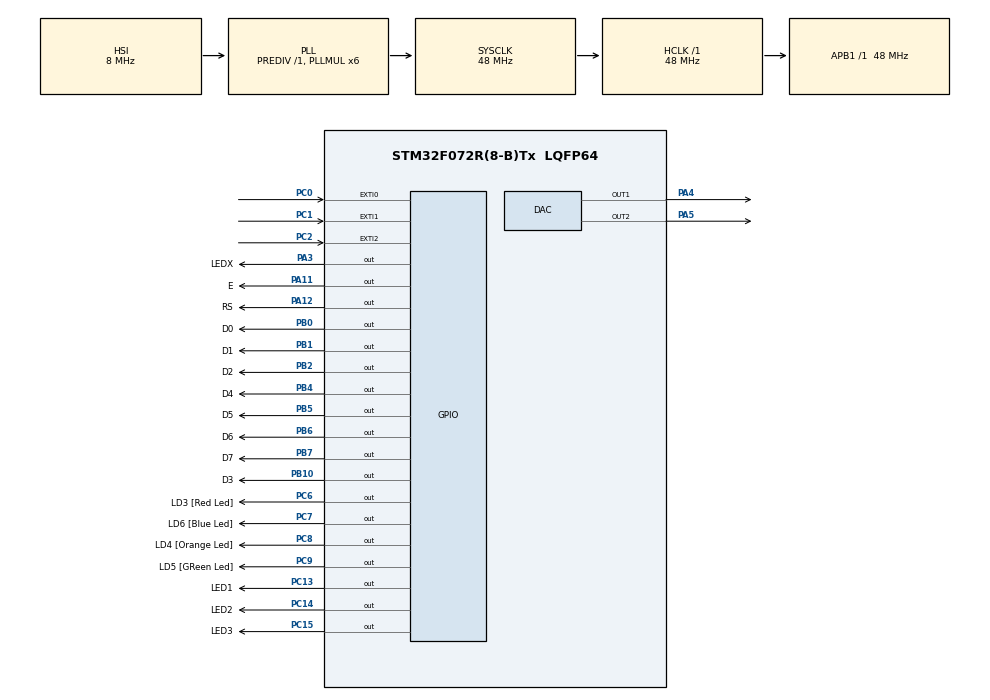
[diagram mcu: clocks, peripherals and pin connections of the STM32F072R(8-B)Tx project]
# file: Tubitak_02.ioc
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Mcu.Family=STM32F0
Mcu.Name=STM32F072R(8-B)Tx
Mcu.Package=LQFP64
NVIC.EXTI0_1_IRQn=true\:0\:0\:false\:false\:true\:true\:true
NVIC.EXTI2_3_IRQn=true\:0\:0\:false\:false\:true\:true\:true
NVIC.TIM1_BRK_UP_TRG_COM_IRQn=true\:0\:0\:false\:false\:true\:true\:true
NVIC.TIM1_CC_IRQn=true\:0\:0\:false\:false\:true\:true\:true
PA11.GPIO_Label=E
PA11.Signal=GPIO_Output
PA12.GPIO_Label=RS
PA12.Signal=GPIO_Output
PA13.GPIO_Label=SWDIO
PA13.Signal=SYS_SWDIO
PA3.GPIO_Label=LEDX
PA3.Signal=GPIO_Output
PA4.Signal=COMP_DAC1_group
PA5.Signal=COMP_DAC2_group
PB0.GPIO_Label=D0
PB0.Signal=GPIO_Output
PB1.GPIO_Label=D1
PB1.Signal=GPIO_Output
PB10.GPIO_Label=D3
PB10.Signal=GPIO_Output
PB2.GPIO_Label=D2
PB2.Signal=GPIO_Output
PB4.GPIO_Label=D4
PB4.Signal=GPIO_Output
PB5.GPIO_Label=D5
PB5.Signal=GPIO_Output
PB6.GPIO_Label=D6
PB6.Signal=GPIO_Output
PB7.GPIO_Label=D7
PB7.Signal=GPIO_Output
PC0.Signal=GPXTI0
PC1.Signal=GPXTI1
PC13.GPIO_Label=LED1
PC13.Signal=GPIO_Output
PC14-OSC32_IN.GPIO_Label=LED2
PC14-OSC32_IN.Signal=GPIO_Output
PC15-OSC32_OUT.GPIO_Label=LED3
PC15-OSC32_OUT.Signal=GPIO_Output
PC2.Signal=GPXTI2
PC6.GPIO_Label=LD3 [Red Led]
PC6.Signal=GPIO_Output
PC7.GPIO_Label=LD6 [Blue Led]
PC7.Signal=GPIO_Output
PC8.GPIO_Label=LD4 [Orange Led]
PC8.Signal=GPIO_Output
PC9.GPIO_Label=LD5 [GReen Led]
PC9.Signal=GPIO_Output
ProjectManager.HeapSize=0x200
ProjectManager.StackSize=0x400
ProjectManager.TargetToolchain=STM32CubeIDE
RCC.AHBFreq_Value=48000000
RCC.APB1Freq_Value=48000000
RCC.APB1TimFreq_Value=48000000
RCC.HCLKFreq_Value=48000000
RCC.PLLMUL=RCC_PLL_MUL6
RCC.SYSCLKFreq_VALUE=48000000
RCC.SYSCLKSource=RCC_SYSCLKSOURCE_PLLCLK
SH.COMP_DAC1_group.0=DAC_OUT1,DAC_OUT1
SH.COMP_DAC2_group.0=DAC_OUT2,DAC_OUT2
TIM1.Period=48000-1
VP_TIM1_VS_ClockSourceINT.Mode=Internal
board=STM32F072B-DISCO

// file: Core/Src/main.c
/* USER CODE BEGIN Header */
/**
  ******************************************************************************
  * @file           : main.c
  * @brief          : Main program body
  ******************************************************************************
  * @attention
  *
  * <h2><center>&copy; Copyright (c) 2021 STMicroelectronics.
  * All rights reserved.</center></h2>
  *
  * This software component is licensed by ST under BSD 3-Clause license,
  * the "License"; You may not use this file except in compliance with the
  * License. You may obtain a copy of the License at:
  *                        opensource.org/licenses/BSD-3-Clause
  *
  ******************************************************************************
  */
/* USER CODE END Header */
#include "main.h"

/* USER CODE BEGIN Includes */
#include "math.h"
#include "STM_MY_LCD16X2.h"
/* USER CODE END Includes */

DAC_HandleTypeDef hdac;

TIM_HandleTypeDef htim1;

/* USER CODE BEGIN PV */
uint16_t inc_value=0;

int i=0;

/* USER CODE END PV */

void SystemClock_Config(void);
static void MX_GPIO_Init(void);
static void MX_DAC_Init(void);
static void MX_TIM1_Init(void);

int main(void)
{

  /* MCU Configuration--------------------------------------------------------*/

  /* Reset of all peripherals, Initializes the Flash interface and the Systick. */
  HAL_Init();

  /* Configure the system clock */
  SystemClock_Config();

  /* Initialize all configured peripherals */
  MX_GPIO_Init();
  MX_DAC_Init();
  MX_TIM1_Init();
  /* USER CODE BEGIN 2 */

  HAL_DAC_Start(&hdac, DAC_CHANNEL_1);

  HAL_TIM_Base_Start_IT(&htim1);

  //LCD1602_Begin8BIT(RS_GPIO_Port, RS_Pin, E_Pin, D0_GPIO_Port, D0_Pin, D1_Pin, D2_Pin, D3_Pin, D4_GPIO_Port, D4_Pin, D5_Pin, D6_Pin, D7_Pin);

  /* USER CODE END 2 */

  /* Infinite loop */
  while (1)
  {

    /* USER CODE BEGIN 3 */
	  HAL_GPIO_WritePin(GPIOC, GPIO_PIN_13, GPIO_PIN_SET);
	  	  HAL_GPIO_WritePin(GPIOC, GPIO_PIN_14, GPIO_PIN_SET);
	  	  HAL_GPIO_WritePin(GPIOC, GPIO_PIN_15, GPIO_PIN_SET);

	  LCD1602_setCursor(1, 1);
	      LCD1602_print("BMS");
	      LCD1602_setCursor(2, 1);
	      LCD1602_print("4.06.2021");

	      HAL_Delay(1000);

	      HAL_GPIO_WritePin(GPIOC, GPIO_PIN_13, GPIO_PIN_RESET);
	      	  	  HAL_GPIO_WritePin(GPIOC, GPIO_PIN_14, GPIO_PIN_RESET);
	      	  	  HAL_GPIO_WritePin(GPIOC, GPIO_PIN_15, GPIO_PIN_RESET);
  }
  /* USER CODE END 3 */
}

void SystemClock_Config(void)
{
  RCC_OscInitTypeDef RCC_OscInitStruct = {0};
  RCC_ClkInitTypeDef RCC_ClkInitStruct = {0};

  /** Initializes the RCC Oscillators according to the specified parameters
  * in the RCC_OscInitTypeDef structure.
  */
  RCC_OscInitStruct.OscillatorType = RCC_OSCILLATORTYPE_HSI;
  RCC_OscInitStruct.HSIState = RCC_HSI_ON;
  RCC_OscInitStruct.HSICalibrationValue = RCC_HSICALIBRATION_DEFAULT;
  RCC_OscInitStruct.PLL.PLLState = RCC_PLL_ON;
  RCC_OscInitStruct.PLL.PLLSource = RCC_PLLSOURCE_HSI;
  RCC_OscInitStruct.PLL.PLLMUL = RCC_PLL_MUL6;
  RCC_OscInitStruct.PLL.PREDIV = RCC_PREDIV_DIV1;
  if (HAL_RCC_OscConfig(&RCC_OscInitStruct) != HAL_OK)
  {
    Error_Handler();
  }
  /** Initializes the CPU, AHB and APB buses clocks
  */
  RCC_ClkInitStruct.ClockType = RCC_CLOCKTYPE_HCLK|RCC_CLOCKTYPE_SYSCLK
                              |RCC_CLOCKTYPE_PCLK1;
  RCC_ClkInitStruct.SYSCLKSource = RCC_SYSCLKSOURCE_PLLCLK;
  RCC_ClkInitStruct.AHBCLKDivider = RCC_SYSCLK_DIV1;
  RCC_ClkInitStruct.APB1CLKDivider = RCC_HCLK_DIV1;

  if (HAL_RCC_ClockConfig(&RCC_ClkInitStruct, FLASH_LATENCY_1) != HAL_OK)
  {
    Error_Handler();
  }
}

static void MX_DAC_Init(void)
{

  DAC_ChannelConfTypeDef sConfig = {0};

  /** DAC Initialization
  */
  hdac.Instance = DAC;
  if (HAL_DAC_Init(&hdac) != HAL_OK)
  {
    Error_Handler();
  }
  /** DAC channel OUT1 config
  */
  sConfig.DAC_Trigger = DAC_TRIGGER_NONE;
  sConfig.DAC_OutputBuffer = DAC_OUTPUTBUFFER_ENABLE;
  if (HAL_DAC_ConfigChannel(&hdac, &sConfig, DAC_CHANNEL_1) != HAL_OK)
  {
    Error_Handler();
  }
  /** DAC channel OUT2 config
  */
  if (HAL_DAC_ConfigChannel(&hdac, &sConfig, DAC_CHANNEL_2) != HAL_OK)
  {
    Error_Handler();
  }

}

static void MX_TIM1_Init(void)
{

  TIM_ClockConfigTypeDef sClockSourceConfig = {0};
  TIM_MasterConfigTypeDef sMasterConfig = {0};

  htim1.Instance = TIM1;
  htim1.Init.Prescaler = 0;
  htim1.Init.CounterMode = TIM_COUNTERMODE_UP;
  htim1.Init.Period = 48000-1;
  htim1.Init.ClockDivision = TIM_CLOCKDIVISION_DIV1;
  htim1.Init.RepetitionCounter = 0;
  htim1.Init.AutoReloadPreload = TIM_AUTORELOAD_PRELOAD_DISABLE;
  if (HAL_TIM_Base_Init(&htim1) != HAL_OK)
  {
    Error_Handler();
  }
  sClockSourceConfig.ClockSource = TIM_CLOCKSOURCE_INTERNAL;
  if (HAL_TIM_ConfigClockSource(&htim1, &sClockSourceConfig) != HAL_OK)
  {
    Error_Handler();
  }
  sMasterConfig.MasterOutputTrigger = TIM_TRGO_RESET;
  sMasterConfig.MasterSlaveMode = TIM_MASTERSLAVEMODE_DISABLE;
  if (HAL_TIMEx_MasterConfigSynchronization(&htim1, &sMasterConfig) != HAL_OK)
  {
    Error_Handler();
  }

}

static void MX_GPIO_Init(void)
{
  GPIO_InitTypeDef GPIO_InitStruct = {0};

  /* GPIO Ports Clock Enable */
  __HAL_RCC_GPIOC_CLK_ENABLE();
  __HAL_RCC_GPIOA_CLK_ENABLE();
  __HAL_RCC_GPIOB_CLK_ENABLE();

  /*Configure GPIO pin Output Level */
  HAL_GPIO_WritePin(GPIOC, LED1_Pin|LED2_Pin|LED3_Pin|LD3_Pin
                          |LD6_Pin|LD4_Pin|LD5_Pin, GPIO_PIN_RESET);

  /*Configure GPIO pin Output Level */
  HAL_GPIO_WritePin(GPIOA, LEDX_Pin|E_Pin|RS_Pin, GPIO_PIN_RESET);

  /*Configure GPIO pin Output Level */
  HAL_GPIO_WritePin(GPIOB, D0_Pin|D1_Pin|D2_Pin|D3_Pin
                          |D4_Pin|D5_Pin|D6_Pin|D7_Pin, GPIO_PIN_RESET);

  /*Configure GPIO pins : LED1_Pin LED2_Pin LED3_Pin LD3_Pin
                           LD6_Pin LD4_Pin LD5_Pin */
  GPIO_InitStruct.Pin = LED1_Pin|LED2_Pin|LED3_Pin|LD3_Pin
                          |LD6_Pin|LD4_Pin|LD5_Pin;
  GPIO_InitStruct.Mode = GPIO_MODE_OUTPUT_PP;
  GPIO_InitStruct.Pull = GPIO_NOPULL;
  GPIO_InitStruct.Speed = GPIO_SPEED_FREQ_LOW;
  HAL_GPIO_Init(GPIOC, &GPIO_InitStruct);

  /*Configure GPIO pins : PC0 PC1 PC2 */
  GPIO_InitStruct.Pin = GPIO_PIN_0|GPIO_PIN_1|GPIO_PIN_2;
  GPIO_InitStruct.Mode = GPIO_MODE_IT_RISING;
  GPIO_InitStruct.Pull = GPIO_NOPULL;
  HAL_GPIO_Init(GPIOC, &GPIO_InitStruct);

  /*Configure GPIO pins : LEDX_Pin E_Pin RS_Pin */
  GPIO_InitStruct.Pin = LEDX_Pin|E_Pin|RS_Pin;
  GPIO_InitStruct.Mode = GPIO_MODE_OUTPUT_PP;
  GPIO_InitStruct.Pull = GPIO_NOPULL;
  GPIO_InitStruct.Speed = GPIO_SPEED_FREQ_LOW;
  HAL_GPIO_Init(GPIOA, &GPIO_InitStruct);

  /*Configure GPIO pins : D0_Pin D1_Pin D2_Pin D3_Pin
                           D4_Pin D5_Pin D6_Pin D7_Pin */
  GPIO_InitStruct.Pin = D0_Pin|D1_Pin|D2_Pin|D3_Pin
                          |D4_Pin|D5_Pin|D6_Pin|D7_Pin;
  GPIO_InitStruct.Mode = GPIO_MODE_OUTPUT_PP;
  GPIO_InitStruct.Pull = GPIO_NOPULL;
  GPIO_InitStruct.Speed = GPIO_SPEED_FREQ_LOW;
  HAL_GPIO_Init(GPIOB, &GPIO_InitStruct);

  /* EXTI interrupt init*/
  HAL_NVIC_SetPriority(EXTI0_1_IRQn, 0, 0);
  HAL_NVIC_EnableIRQ(EXTI0_1_IRQn);

  HAL_NVIC_SetPriority(EXTI2_3_IRQn, 0, 0);
  HAL_NVIC_EnableIRQ(EXTI2_3_IRQn);

}

void Error_Handler(void)
{
  __disable_irq();
  while (1)
  {
  }
}

/************************ (C) COPYRIGHT STMicroelectronics *****END OF FILE****/
